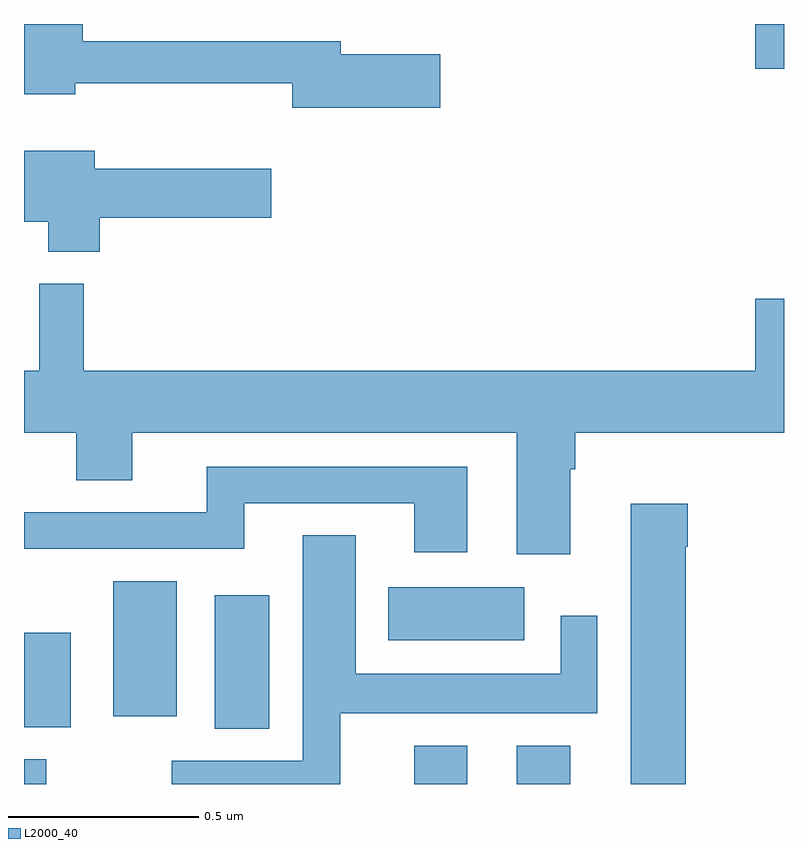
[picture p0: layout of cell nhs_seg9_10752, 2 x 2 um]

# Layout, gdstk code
import gdstk
lib = gdstk.Library(unit=1e-6, precision=1e-09)
def R(c, l, rs):  # rectangles x0, y0, x1, y1
    for r in rs: c.add(gdstk.rectangle(r[:2], r[2:], *l))
def P(c, l, *ps):  # polygons
    for p in ps: c.add(gdstk.Polygon(p, *l))
L2000_40 = (2000, 40)

nhs_seg9_10752 = lib.new_cell('nhs_seg9_10752')
R(nhs_seg9_10752, L2000_40, [(247,1191.5,247.059,1191.565), (248.027,1191.5,248.167,1191.601), (248.297,1191.5,248.437,1191.601), (247.502,1191.646,247.645,1191.997), (247,1191.65,247.123,1191.898), (247.235,1191.678,247.402,1192.034), (247.958,1191.878,248.317,1192.018), (248.924,1193.382,249,1193.5)])
P(nhs_seg9_10752, L2000_40, [(248.095,1193.421),(247.834,1193.421),(247.834,1193.455),(247.154,1193.455),(247.154,1193.5),(247,1193.5),(247,1193.315),(247.135,1193.315),(247.135,1193.344),(247.706,1193.344),(247.706,1193.279),(248.095,1193.279)],
  [(247.199,1192.99),(247.651,1192.99),(247.651,1193.119),(247.186,1193.119),(247.186,1193.167),(247,1193.167),(247,1192.979),(247.064,1192.979),(247.064,1192.901),(247.199,1192.901)],
  [(248.437,1192.328),(248.45,1192.328),(248.45,1192.424),(249,1192.424),(249,1192.777),(248.924,1192.777),(248.924,1192.588),(247.157,1192.588),(247.157,1192.816),(247.04,1192.816),(247.04,1192.588),(247,1192.588),(247,1192.424),(247.138,1192.424),(247.138,1192.3),(247.285,1192.3),(247.285,1192.424),(248.297,1192.424),(248.297,1192.104),(248.437,1192.104)],
  [(248.167,1192.335),(247.481,1192.335),(247.481,1192.215),(247,1192.215),(247,1192.119),(247.579,1192.119),(247.579,1192.239),(248.027,1192.239),(248.027,1192.11),(248.167,1192.11)],
  [(248.742,1192.124),(248.747,1192.124),(248.747,1192.237),(248.597,1192.237),(248.597,1191.5),(248.742,1191.5)],
  [(247.832,1191.686),(248.508,1191.686),(248.508,1191.943),(248.412,1191.943),(248.412,1191.79),(247.873,1191.79),(247.873,1192.154),(247.733,1192.154),(247.733,1191.561),(247.389,1191.561),(247.389,1191.5),(247.832,1191.5)])

lib.write_gds('nhs_seg9_10752.gds')
